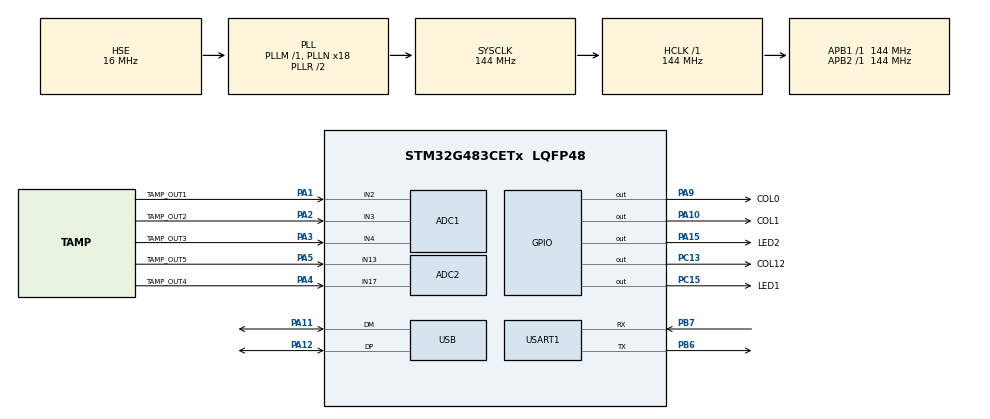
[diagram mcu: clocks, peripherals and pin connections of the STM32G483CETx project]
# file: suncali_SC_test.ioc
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ADC1.Channel-0\#ChannelRegularConversion=ADC_CHANNEL_2
ADC1.Channel-1\#ChannelRegularConversion=ADC_CHANNEL_3
ADC1.Channel-2\#ChannelRegularConversion=ADC_CHANNEL_4
ADC1.ClockPrescaler=ADC_CLOCK_ASYNC_DIV6
ADC1.ContinuousConvMode=ENABLE
ADC1.NbrOfConversion=3
ADC1.NbrOfConversionFlag=1
ADC1.OffsetNumber-0\#ChannelRegularConversion=ADC_OFFSET_NONE
ADC1.OffsetNumber-1\#ChannelRegularConversion=ADC_OFFSET_NONE
ADC1.OffsetNumber-2\#ChannelRegularConversion=ADC_OFFSET_NONE
ADC1.OversamplingMode=ENABLE
ADC1.Rank-0\#ChannelRegularConversion=1
ADC1.Rank-1\#ChannelRegularConversion=2
ADC1.Rank-2\#ChannelRegularConversion=3
ADC1.Ratio=ADC_OVERSAMPLING_RATIO_16
ADC1.RightBitShift=ADC_RIGHTBITSHIFT_4
ADC1.SamplingTime-0\#ChannelRegularConversion=ADC_SAMPLETIME_47CYCLES_5
ADC1.SamplingTime-1\#ChannelRegularConversion=ADC_SAMPLETIME_47CYCLES_5
ADC1.SamplingTime-2\#ChannelRegularConversion=ADC_SAMPLETIME_47CYCLES_5
ADC1.master=1
ADC2.Channel-0\#ChannelRegularConversion=ADC_CHANNEL_17
ADC2.Channel-1\#ChannelRegularConversion=ADC_CHANNEL_13
ADC2.ClockPrescaler=ADC_CLOCK_ASYNC_DIV6
ADC2.NbrOfConversion=2
ADC2.NbrOfConversionFlag=1
ADC2.OffsetNumber-0\#ChannelRegularConversion=ADC_OFFSET_NONE
ADC2.OffsetNumber-1\#ChannelRegularConversion=ADC_OFFSET_NONE
ADC2.OversamplingMode=ENABLE
ADC2.Rank-0\#ChannelRegularConversion=1
ADC2.Rank-1\#ChannelRegularConversion=2
ADC2.Ratio=ADC_OVERSAMPLING_RATIO_16
ADC2.RightBitShift=ADC_RIGHTBITSHIFT_4
ADC2.SamplingTime-0\#ChannelRegularConversion=ADC_SAMPLETIME_47CYCLES_5
ADC2.SamplingTime-1\#ChannelRegularConversion=ADC_SAMPLETIME_47CYCLES_5
Dma.ADC1.0.Direction=DMA_PERIPH_TO_MEMORY
Dma.ADC1.0.EventEnable=DISABLE
Dma.ADC1.0.Instance=DMA1_Channel1
Dma.ADC1.0.MemDataAlignment=DMA_MDATAALIGN_HALFWORD
Dma.ADC1.0.MemInc=DMA_MINC_ENABLE
Dma.ADC1.0.Mode=DMA_NORMAL
Dma.ADC1.0.PeriphDataAlignment=DMA_PDATAALIGN_HALFWORD
Dma.ADC1.0.PeriphInc=DMA_PINC_DISABLE
Dma.ADC1.0.Polarity=HAL_DMAMUX_REQ_GEN_RISING
Dma.ADC1.0.Priority=DMA_PRIORITY_LOW
Dma.ADC1.0.RequestNumber=1
Dma.ADC1.0.SignalID=NONE
Dma.ADC1.0.SyncEnable=DISABLE
Dma.ADC1.0.SyncPolarity=HAL_DMAMUX_SYNC_NO_EVENT
Dma.ADC1.0.SyncRequestNumber=1
Dma.ADC1.0.SyncSignalID=NONE
Dma.ADC2.1.Direction=DMA_PERIPH_TO_MEMORY
Dma.ADC2.1.EventEnable=DISABLE
Dma.ADC2.1.Instance=DMA1_Channel2
Dma.ADC2.1.MemDataAlignment=DMA_MDATAALIGN_HALFWORD
Dma.ADC2.1.MemInc=DMA_MINC_ENABLE
Dma.ADC2.1.Mode=DMA_NORMAL
Dma.ADC2.1.PeriphDataAlignment=DMA_PDATAALIGN_HALFWORD
Dma.ADC2.1.PeriphInc=DMA_PINC_DISABLE
Dma.ADC2.1.Polarity=HAL_DMAMUX_REQ_GEN_RISING
Dma.ADC2.1.Priority=DMA_PRIORITY_LOW
Dma.ADC2.1.RequestNumber=1
Dma.ADC2.1.SignalID=NONE
Dma.ADC2.1.SyncEnable=DISABLE
Dma.ADC2.1.SyncPolarity=HAL_DMAMUX_SYNC_NO_EVENT
Dma.ADC2.1.SyncRequestNumber=1
Dma.ADC2.1.SyncSignalID=NONE
Dma.Request0=ADC1
Dma.Request1=ADC2
Mcu.Family=STM32G4
Mcu.Name=STM32G483CETx
Mcu.Package=LQFP48
NVIC.DMA1_Channel1_IRQn=true\:0\:0\:false\:false\:true\:false\:true\:true
NVIC.DMA1_Channel2_IRQn=true\:0\:0\:false\:false\:true\:false\:true\:true
NVIC.PriorityGroup=NVIC_PRIORITYGROUP_4
NVIC.TIM1_BRK_TIM15_IRQn=true\:0\:0\:false\:false\:true\:true\:true\:true
NVIC.TIM1_CC_IRQn=true\:0\:0\:false\:false\:true\:true\:true\:true
NVIC.TIM1_TRG_COM_TIM17_IRQn=true\:0\:0\:false\:false\:true\:true\:true\:true
NVIC.TIM1_UP_TIM16_IRQn=true\:0\:0\:false\:false\:true\:true\:true\:true
NVIC.USB_LP_IRQn=true\:0\:0\:false\:false\:true\:false\:true\:true
PA1.GPIO_Label=TAMP_OUT1
PA1.Mode=IN2-Single-Ended
PA1.Signal=ADC1_IN2
PA10.GPIO_Label=COL1
PA10.Signal=GPIO_Output
PA11.Mode=Device
PA11.Signal=USB_DM
PA12.Mode=Device
PA12.Signal=USB_DP
PA13.Mode=Trace_Asynchronous_SW
PA13.Signal=SYS_JTMS-SWDIO
PA14.Mode=Trace_Asynchronous_SW
PA14.Signal=SYS_JTCK-SWCLK
PA15.GPIO_Label=LED2
PA15.PinState=GPIO_PIN_RESET
PA15.Signal=GPIO_Output
PA2.GPIO_Label=TAMP_OUT2
PA2.Mode=IN3-Single-Ended
PA2.Signal=ADC1_IN3
PA3.GPIO_Label=TAMP_OUT3
PA3.Mode=IN4-Single-Ended
PA3.Signal=ADC1_IN4
PA4.GPIO_Label=TAMP_OUT4
PA4.Mode=IN17-Single-Ended
PA4.Signal=ADC2_IN17
PA5.GPIO_Label=TAMP_OUT5
PA5.Mode=IN13-Single-Ended
PA5.Signal=ADC2_IN13
PA9.GPIO_Label=COL0
PA9.Signal=GPIO_Output
PB3.Mode=Trace_Asynchronous_SW
PB3.Signal=SYS_JTDO-SWO
PB6.GPIO_FM6=SYSCFG_FASTMODEPLUS_PB6
PB6.Mode=Asynchronous
PB6.Signal=USART1_TX
PB7.GPIO_FM7=SYSCFG_FASTMODEPLUS_PB7
PB7.Mode=Asynchronous
PB7.Signal=USART1_RX
PC13.GPIO_Label=COL12
PC13.Signal=GPIO_Output
PC15-OSC32_OUT.GPIO_Label=LED1
PC15-OSC32_OUT.Signal=GPIO_Output
PF0-OSC_IN.Mode=HSE-External-Oscillator
PF0-OSC_IN.Signal=RCC_OSC_IN
PF1-OSC_OUT.Mode=HSE-External-Oscillator
PF1-OSC_OUT.Signal=RCC_OSC_OUT
ProjectManager.HeapSize=0x200
ProjectManager.StackSize=0x400
ProjectManager.TargetToolchain=STM32CubeIDE
RCC.ADC12CLockSelection=RCC_ADC12CLKSOURCE_PLL
RCC.ADC12Freq_Value=144000000
RCC.ADC345Freq_Value=144000000
RCC.AHBFreq_Value=144000000
RCC.APB1Freq_Value=144000000
RCC.APB1TimFreq_Value=144000000
RCC.APB2Freq_Value=144000000
RCC.APB2TimFreq_Value=144000000
RCC.CortexFreq_Value=144000000
RCC.EXTERNAL_CLOCK_VALUE=12288000
RCC.HCLKFreq_Value=144000000
RCC.HSE_VALUE=16000000
RCC.HSI48_VALUE=48000000
RCC.HSI_VALUE=16000000
RCC.LSE_VALUE=32768
RCC.PLLN=18
RCC.PLLQ=RCC_PLLQ_DIV6
RCC.PLLSourceVirtual=RCC_PLLSOURCE_HSE
RCC.SYSCLKFreq_VALUE=144000000
RCC.SYSCLKSource=RCC_SYSCLKSOURCE_PLLCLK
RCC.USART1CLockSelection=RCC_USART1CLKSOURCE_SYSCLK
RCC.USBFreq_Value=48000000
RCC.VCOOutputFreq_Value=288000000
TIM1.AutoReloadPreload=TIM_AUTORELOAD_PRELOAD_ENABLE
TIM1.PeriodNoDither=1000-1
TIM1.Prescaler=14400-1
USART1.VirtualMode-Asynchronous=VM_ASYNC
USB_DEVICE.CLASS_NAME_FS=CDC
USB_DEVICE.VirtualMode=Cdc
USB_DEVICE.VirtualModeFS=Cdc_FS
VP_SYS_VS_DBSignals.Mode=DisableDeadBatterySignals
VP_TIM1_VS_ClockSourceINT.Mode=Internal
VP_USB_DEVICE_VS_USB_DEVICE_CDC_FS.Mode=CDC_FS
board=custom

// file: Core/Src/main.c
/* USER CODE BEGIN Header */
/**
  ******************************************************************************
  * @file           : main.c
  * @brief          : Main program body
  ******************************************************************************
  * @attention
  *
  * Copyright (c) 2024 STMicroelectronics.
  * All rights reserved.
  *
  * This software is licensed under terms that can be found in the LICENSE file
  * in the root directory of this software component.
  * If no LICENSE file comes with this software, it is provided AS-IS.
  *
  ******************************************************************************
  */
/* USER CODE END Header */
#include "main.h"
#include "usb_device.h"

/* USER CODE BEGIN Includes */
#include "string.h"
#include "stdio.h"
#include "usbd_cdc_if.h"

/* USER CODE END Includes */

ADC_HandleTypeDef hadc1;
ADC_HandleTypeDef hadc2;
DMA_HandleTypeDef hdma_adc1;
DMA_HandleTypeDef hdma_adc2;

TIM_HandleTypeDef htim1;

UART_HandleTypeDef huart1;

/* USER CODE BEGIN PV */

uint16_t adc_buffer[3];
uint16_t adc_buffer2[2];

volatile uint8_t flag = 0;
volatile uint8_t flag2 = 0;
uint8_t state = 0;

char uart_buffer[60];

volatile uint8_t run_main_loop = 0; // 0 = stop, 1 = start
volatile uint8_t run_offset = 0;

/* USER CODE END PV */

void SystemClock_Config(void);
static void MX_GPIO_Init(void);
static void MX_DMA_Init(void);
static void MX_USART1_UART_Init(void);
static void MX_ADC1_Init(void);
static void MX_TIM1_Init(void);
static void MX_ADC2_Init(void);

int main(void)
{

  /* MCU Configuration--------------------------------------------------------*/

  /* Reset of all peripherals, Initializes the Flash interface and the Systick. */
  HAL_Init();

  /* Configure the system clock */
  SystemClock_Config();

  /* Initialize all configured peripherals */
  MX_GPIO_Init();
  MX_DMA_Init();
  MX_USART1_UART_Init();
  MX_ADC1_Init();
  MX_TIM1_Init();
  MX_ADC2_Init();
  MX_USB_Device_Init();
  /* USER CODE BEGIN 2 */

  // Calibrate ADC
  HAL_ADCEx_Calibration_Start(&hadc1, ADC_SINGLE_ENDED);
  HAL_ADCEx_Calibration_Start(&hadc2, ADC_SINGLE_ENDED);

  HAL_TIM_Base_Start_IT(&htim1);

  HAL_GPIO_WritePin(COL1_GPIO_Port, COL1_Pin, 0);
  HAL_GPIO_WritePin(COL0_GPIO_Port, COL0_Pin, 0);
  HAL_Delay(50);

  /* USER CODE END 2 */

  /* Infinite loop */
  /* USER CODE BEGIN WHILE */
  while (1) {

	  switch (state){
	  case 0:
		  if (run_main_loop == 1){
			  state = 1;
		  }

		  if(run_offset == 1 ){
			  HAL_GPIO_WritePin(COL0_GPIO_Port, COL0_Pin, 0);
			  HAL_GPIO_WritePin(COL12_GPIO_Port, COL12_Pin, 0);
			  HAL_GPIO_WritePin(COL1_GPIO_Port, COL1_Pin, 0);
			  HAL_Delay(2);
			  HAL_ADC_Start_DMA(&hadc1, (uint32_t *)adc_buffer, 3);
			  HAL_ADC_Start_DMA(&hadc2, (uint32_t *)adc_buffer2, 2);
			  state = 6;
		  }

		  break;

	  case 1:
		  HAL_GPIO_WritePin(COL0_GPIO_Port, COL0_Pin, 1);
		  HAL_GPIO_WritePin(LED2_GPIO_Port, LED2_Pin, 1);
		  HAL_GPIO_WritePin(COL12_GPIO_Port, COL12_Pin, 0);

		  HAL_Delay(2);
		  HAL_ADC_Start_DMA(&hadc1, (uint32_t *)adc_buffer, 3);
		  HAL_ADC_Start_DMA(&hadc2, (uint32_t *)adc_buffer2, 2);
		  state = 2;
		  break;

	  case 2:
		  if(flag == 1 && flag2 == 1){
			  snprintf(uart_buffer, sizeof(uart_buffer), "COL0: %u, %u, %u, %u, %u\r\n", adc_buffer[0], adc_buffer[1], adc_buffer[2], adc_buffer2[0], adc_buffer2[1]);
			  CDC_Transmit_FS((uint8_t *)uart_buffer, strlen(uart_buffer));

			  flag = 0;
			  flag2 = 0;
			  HAL_GPIO_WritePin(COL0_GPIO_Port, COL0_Pin, 0);
			  HAL_GPIO_WritePin(LED2_GPIO_Port, LED2_Pin, 0);
			  HAL_Delay(2);
			  state = 3;
		  }

		  break;

	  case 3:
		  HAL_GPIO_WritePin(COL1_GPIO_Port, COL1_Pin, 1);
		  HAL_GPIO_WritePin(LED2_GPIO_Port, LED2_Pin, 1);
		  HAL_Delay(2);
		  HAL_ADC_Start_DMA(&hadc1, (uint32_t *)adc_buffer, 3);
		  HAL_ADC_Start_DMA(&hadc2, (uint32_t *)adc_buffer2, 2);
		  state = 4;
		  break;

	  case 4:
		  if(flag == 1 && flag2 == 1){
			  snprintf(uart_buffer, sizeof(uart_buffer), "COL1: %u, %u, %u, %u, %u\r\n", adc_buffer[0], adc_buffer[1], adc_buffer[2], adc_buffer2[0], adc_buffer2[1]);
			  CDC_Transmit_FS((uint8_t *)uart_buffer, strlen(uart_buffer));

			  flag = 0;
			  flag2 = 0;
			  HAL_GPIO_WritePin(COL1_GPIO_Port, COL1_Pin, 0);
			  HAL_GPIO_WritePin(LED2_GPIO_Port, LED2_Pin, 0);
			  HAL_Delay(2);
			  state = 5;
		  }

		  break;

	  case 5:
		  if(run_main_loop == 0){
			  CDC_Transmit_FS((uint8_t*)"Main loop stopped\r\n", 19);
		  }
		  state = 0;
		  break;

	  case 6:
		  if(flag == 1 && flag2 == 1){

			  snprintf(uart_buffer, sizeof(uart_buffer), "Offsets: %u, %u, %u, %u, %u\r\n", adc_buffer[0], adc_buffer[1], adc_buffer[2], adc_buffer2[0], adc_buffer2[1]);
			  CDC_Transmit_FS((uint8_t *)uart_buffer, strlen(uart_buffer));

			  flag = 0;
			  flag2 = 0;
			  state = 0;
		  }

		  break;

	  default:
		  state = 0;

	  }

	  HAL_Delay(2);

  }

    /* USER CODE END WHILE */

}

void SystemClock_Config(void)
{
  RCC_OscInitTypeDef RCC_OscInitStruct = {0};
  RCC_ClkInitTypeDef RCC_ClkInitStruct = {0};

  /** Configure the main internal regulator output voltage
  */
  HAL_PWREx_ControlVoltageScaling(PWR_REGULATOR_VOLTAGE_SCALE1);

  /** Initializes the RCC Oscillators according to the specified parameters
  * in the RCC_OscInitTypeDef structure.
  */
  RCC_OscInitStruct.OscillatorType = RCC_OSCILLATORTYPE_HSE;
  RCC_OscInitStruct.HSEState = RCC_HSE_ON;
  RCC_OscInitStruct.PLL.PLLState = RCC_PLL_ON;
  RCC_OscInitStruct.PLL.PLLSource = RCC_PLLSOURCE_HSE;
  RCC_OscInitStruct.PLL.PLLM = RCC_PLLM_DIV1;
  RCC_OscInitStruct.PLL.PLLN = 18;
  RCC_OscInitStruct.PLL.PLLP = RCC_PLLP_DIV2;
  RCC_OscInitStruct.PLL.PLLQ = RCC_PLLQ_DIV6;
  RCC_OscInitStruct.PLL.PLLR = RCC_PLLR_DIV2;
  if (HAL_RCC_OscConfig(&RCC_OscInitStruct) != HAL_OK)
  {
    Error_Handler();
  }

  /** Initializes the CPU, AHB and APB buses clocks
  */
  RCC_ClkInitStruct.ClockType = RCC_CLOCKTYPE_HCLK|RCC_CLOCKTYPE_SYSCLK
                              |RCC_CLOCKTYPE_PCLK1|RCC_CLOCKTYPE_PCLK2;
  RCC_ClkInitStruct.SYSCLKSource = RCC_SYSCLKSOURCE_PLLCLK;
  RCC_ClkInitStruct.AHBCLKDivider = RCC_SYSCLK_DIV1;
  RCC_ClkInitStruct.APB1CLKDivider = RCC_HCLK_DIV1;
  RCC_ClkInitStruct.APB2CLKDivider = RCC_HCLK_DIV1;

  if (HAL_RCC_ClockConfig(&RCC_ClkInitStruct, FLASH_LATENCY_4) != HAL_OK)
  {
    Error_Handler();
  }
}

static void MX_ADC1_Init(void)
{

  ADC_MultiModeTypeDef multimode = {0};
  ADC_ChannelConfTypeDef sConfig = {0};

  /** Common config
  */
  hadc1.Instance = ADC1;
  hadc1.Init.ClockPrescaler = ADC_CLOCK_ASYNC_DIV6;
  hadc1.Init.Resolution = ADC_RESOLUTION_12B;
  hadc1.Init.DataAlign = ADC_DATAALIGN_RIGHT;
  hadc1.Init.GainCompensation = 0;
  hadc1.Init.ScanConvMode = ADC_SCAN_ENABLE;
  hadc1.Init.EOCSelection = ADC_EOC_SINGLE_CONV;
  hadc1.Init.LowPowerAutoWait = DISABLE;
  hadc1.Init.ContinuousConvMode = ENABLE;
  hadc1.Init.NbrOfConversion = 3;
  hadc1.Init.DiscontinuousConvMode = DISABLE;
  hadc1.Init.ExternalTrigConv = ADC_SOFTWARE_START;
  hadc1.Init.ExternalTrigConvEdge = ADC_EXTERNALTRIGCONVEDGE_NONE;
  hadc1.Init.DMAContinuousRequests = DISABLE;
  hadc1.Init.Overrun = ADC_OVR_DATA_PRESERVED;
  hadc1.Init.OversamplingMode = ENABLE;
  hadc1.Init.Oversampling.Ratio = ADC_OVERSAMPLING_RATIO_16;
  hadc1.Init.Oversampling.RightBitShift = ADC_RIGHTBITSHIFT_4;
  hadc1.Init.Oversampling.TriggeredMode = ADC_TRIGGEREDMODE_SINGLE_TRIGGER;
  hadc1.Init.Oversampling.OversamplingStopReset = ADC_REGOVERSAMPLING_CONTINUED_MODE;
  if (HAL_ADC_Init(&hadc1) != HAL_OK)
  {
    Error_Handler();
  }

  /** Configure the ADC multi-mode
  */
  multimode.Mode = ADC_MODE_INDEPENDENT;
  if (HAL_ADCEx_MultiModeConfigChannel(&hadc1, &multimode) != HAL_OK)
  {
    Error_Handler();
  }

  /** Configure Regular Channel
  */
  sConfig.Channel = ADC_CHANNEL_2;
  sConfig.Rank = ADC_REGULAR_RANK_1;
  sConfig.SamplingTime = ADC_SAMPLETIME_47CYCLES_5;
  sConfig.SingleDiff = ADC_SINGLE_ENDED;
  sConfig.OffsetNumber = ADC_OFFSET_NONE;
  sConfig.Offset = 0;
  if (HAL_ADC_ConfigChannel(&hadc1, &sConfig) != HAL_OK)
  {
    Error_Handler();
  }

  /** Configure Regular Channel
  */
  sConfig.Channel = ADC_CHANNEL_3;
  sConfig.Rank = ADC_REGULAR_RANK_2;
  if (HAL_ADC_ConfigChannel(&hadc1, &sConfig) != HAL_OK)
  {
    Error_Handler();
  }

  /** Configure Regular Channel
  */
  sConfig.Channel = ADC_CHANNEL_4;
  sConfig.Rank = ADC_REGULAR_RANK_3;
  if (HAL_ADC_ConfigChannel(&hadc1, &sConfig) != HAL_OK)
  {
    Error_Handler();
  }

}

static void MX_ADC2_Init(void)
{

  ADC_ChannelConfTypeDef sConfig = {0};

  /** Common config
  */
  hadc2.Instance = ADC2;
  hadc2.Init.ClockPrescaler = ADC_CLOCK_ASYNC_DIV6;
  hadc2.Init.Resolution = ADC_RESOLUTION_12B;
  hadc2.Init.DataAlign = ADC_DATAALIGN_RIGHT;
  hadc2.Init.GainCompensation = 0;
  hadc2.Init.ScanConvMode = ADC_SCAN_ENABLE;
  hadc2.Init.EOCSelection = ADC_EOC_SINGLE_CONV;
  hadc2.Init.LowPowerAutoWait = DISABLE;
  hadc2.Init.ContinuousConvMode = DISABLE;
  hadc2.Init.NbrOfConversion = 2;
  hadc2.Init.DiscontinuousConvMode = DISABLE;
  hadc2.Init.ExternalTrigConv = ADC_SOFTWARE_START;
  hadc2.Init.ExternalTrigConvEdge = ADC_EXTERNALTRIGCONVEDGE_NONE;
  hadc2.Init.DMAContinuousRequests = DISABLE;
  hadc2.Init.Overrun = ADC_OVR_DATA_PRESERVED;
  hadc2.Init.OversamplingMode = ENABLE;
  hadc2.Init.Oversampling.Ratio = ADC_OVERSAMPLING_RATIO_16;
  hadc2.Init.Oversampling.RightBitShift = ADC_RIGHTBITSHIFT_4;
  hadc2.Init.Oversampling.TriggeredMode = ADC_TRIGGEREDMODE_SINGLE_TRIGGER;
  hadc2.Init.Oversampling.OversamplingStopReset = ADC_REGOVERSAMPLING_CONTINUED_MODE;
  if (HAL_ADC_Init(&hadc2) != HAL_OK)
  {
    Error_Handler();
  }

  /** Configure Regular Channel
  */
  sConfig.Channel = ADC_CHANNEL_17;
  sConfig.Rank = ADC_REGULAR_RANK_1;
  sConfig.SamplingTime = ADC_SAMPLETIME_47CYCLES_5;
  sConfig.SingleDiff = ADC_SINGLE_ENDED;
  sConfig.OffsetNumber = ADC_OFFSET_NONE;
  sConfig.Offset = 0;
  if (HAL_ADC_ConfigChannel(&hadc2, &sConfig) != HAL_OK)
  {
    Error_Handler();
  }

  /** Configure Regular Channel
  */
  sConfig.Channel = ADC_CHANNEL_13;
  sConfig.Rank = ADC_REGULAR_RANK_2;
  if (HAL_ADC_ConfigChannel(&hadc2, &sConfig) != HAL_OK)
  {
    Error_Handler();
  }

}

static void MX_TIM1_Init(void)
{

  TIM_ClockConfigTypeDef sClockSourceConfig = {0};
  TIM_MasterConfigTypeDef sMasterConfig = {0};

  htim1.Instance = TIM1;
  htim1.Init.Prescaler = 14400-1;
  htim1.Init.CounterMode = TIM_COUNTERMODE_UP;
  htim1.Init.Period = 999;
  htim1.Init.ClockDivision = TIM_CLOCKDIVISION_DIV1;
  htim1.Init.RepetitionCounter = 0;
  htim1.Init.AutoReloadPreload = TIM_AUTORELOAD_PRELOAD_ENABLE;
  if (HAL_TIM_Base_Init(&htim1) != HAL_OK)
  {
    Error_Handler();
  }
  sClockSourceConfig.ClockSource = TIM_CLOCKSOURCE_INTERNAL;
  if (HAL_TIM_ConfigClockSource(&htim1, &sClockSourceConfig) != HAL_OK)
  {
    Error_Handler();
  }
  sMasterConfig.MasterOutputTrigger = TIM_TRGO_RESET;
  sMasterConfig.MasterOutputTrigger2 = TIM_TRGO2_RESET;
  sMasterConfig.MasterSlaveMode = TIM_MASTERSLAVEMODE_DISABLE;
  if (HAL_TIMEx_MasterConfigSynchronization(&htim1, &sMasterConfig) != HAL_OK)
  {
    Error_Handler();
  }

}

static void MX_USART1_UART_Init(void)
{

  huart1.Instance = USART1;
  huart1.Init.BaudRate = 115200;
  huart1.Init.WordLength = UART_WORDLENGTH_8B;
  huart1.Init.StopBits = UART_STOPBITS_1;
  huart1.Init.Parity = UART_PARITY_NONE;
  huart1.Init.Mode = UART_MODE_TX_RX;
  huart1.Init.HwFlowCtl = UART_HWCONTROL_NONE;
  huart1.Init.OverSampling = UART_OVERSAMPLING_16;
  huart1.Init.OneBitSampling = UART_ONE_BIT_SAMPLE_DISABLE;
  huart1.Init.ClockPrescaler = UART_PRESCALER_DIV1;
  huart1.AdvancedInit.AdvFeatureInit = UART_ADVFEATURE_NO_INIT;
  if (HAL_UART_Init(&huart1) != HAL_OK)
  {
    Error_Handler();
  }
  if (HAL_UARTEx_SetTxFifoThreshold(&huart1, UART_TXFIFO_THRESHOLD_1_8) != HAL_OK)
  {
    Error_Handler();
  }
  if (HAL_UARTEx_SetRxFifoThreshold(&huart1, UART_RXFIFO_THRESHOLD_1_8) != HAL_OK)
  {
    Error_Handler();
  }
  if (HAL_UARTEx_DisableFifoMode(&huart1) != HAL_OK)
  {
    Error_Handler();
  }

}

static void MX_DMA_Init(void)
{

  /* DMA controller clock enable */
  __HAL_RCC_DMAMUX1_CLK_ENABLE();
  __HAL_RCC_DMA1_CLK_ENABLE();

  /* DMA interrupt init */
  /* DMA1_Channel1_IRQn interrupt configuration */
  HAL_NVIC_SetPriority(DMA1_Channel1_IRQn, 0, 0);
  HAL_NVIC_EnableIRQ(DMA1_Channel1_IRQn);
  /* DMA1_Channel2_IRQn interrupt configuration */
  HAL_NVIC_SetPriority(DMA1_Channel2_IRQn, 0, 0);
  HAL_NVIC_EnableIRQ(DMA1_Channel2_IRQn);

}

static void MX_GPIO_Init(void)
{
  GPIO_InitTypeDef GPIO_InitStruct = {0};

  /* GPIO Ports Clock Enable */
  __HAL_RCC_GPIOC_CLK_ENABLE();
  __HAL_RCC_GPIOF_CLK_ENABLE();
  __HAL_RCC_GPIOA_CLK_ENABLE();
  __HAL_RCC_GPIOB_CLK_ENABLE();

  /*Configure GPIO pin Output Level */
  HAL_GPIO_WritePin(GPIOC, COL12_Pin|LED1_Pin, GPIO_PIN_RESET);

  /*Configure GPIO pin Output Level */
  HAL_GPIO_WritePin(GPIOA, COL0_Pin|COL1_Pin|LED2_Pin, GPIO_PIN_RESET);

  /*Configure GPIO pins : COL12_Pin LED1_Pin */
  GPIO_InitStruct.Pin = COL12_Pin|LED1_Pin;
  GPIO_InitStruct.Mode = GPIO_MODE_OUTPUT_PP;
  GPIO_InitStruct.Pull = GPIO_NOPULL;
  GPIO_InitStruct.Speed = GPIO_SPEED_FREQ_LOW;
  HAL_GPIO_Init(GPIOC, &GPIO_InitStruct);

  /*Configure GPIO pins : COL0_Pin COL1_Pin LED2_Pin */
  GPIO_InitStruct.Pin = COL0_Pin|COL1_Pin|LED2_Pin;
  GPIO_InitStruct.Mode = GPIO_MODE_OUTPUT_PP;
  GPIO_InitStruct.Pull = GPIO_NOPULL;
  GPIO_InitStruct.Speed = GPIO_SPEED_FREQ_LOW;
  HAL_GPIO_Init(GPIOA, &GPIO_InitStruct);

}

/* USER CODE BEGIN 4 */

void HAL_TIM_PeriodElapsedCallback(TIM_HandleTypeDef* htim)
{
    if (htim->Instance == TIM1){
    	HAL_GPIO_TogglePin(LED1_GPIO_Port, LED1_Pin);
    }
}

void HAL_ADC_ConvCpltCallback(ADC_HandleTypeDef* hadc)
{
    if (hadc->Instance == ADC1){
    	flag = 1;
    }

    if (hadc->Instance == ADC2){
		flag2 = 1;
	}
}

/* USER CODE END 4 */

void Error_Handler(void)
{
  __disable_irq();
  while (1)
  {
  }
}
